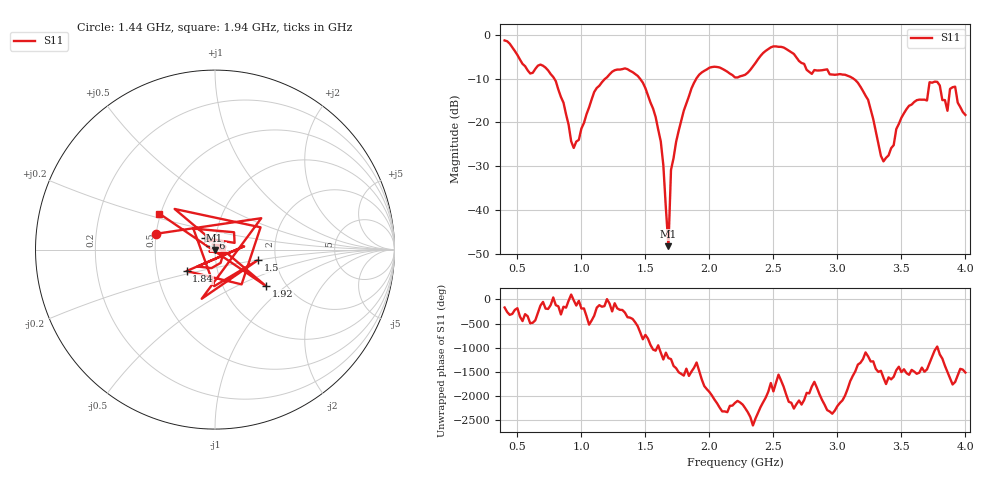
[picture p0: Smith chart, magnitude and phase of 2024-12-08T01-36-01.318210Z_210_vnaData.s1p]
!Created with skrf (http://scikit-rf.org).
# Hz S RI R 50.0
!freq ReS11 ImS11
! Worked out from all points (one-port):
!   181 points, 400 MHz to 4 GHz, reference 50 ohm
!   lowest |S11| = -48.2 dB at 1.68 GHz (marker M1), VSWR 1.01, Z = 49.7 - j0.273 ohm
!   |S11| at or under -10 dB: 787.2 MHz to 1.188 GHz (400.9 MHz wide, 40.6 % of centre); 1.456 GHz to 1.898 GHz (442 MHz wide, 26.4 % of centre); 3.124 GHz to end of sweep
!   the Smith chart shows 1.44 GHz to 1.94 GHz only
!   S11 on the Smith chart (normalised r, x): 1.44 GHz: 0.50, +0.10; 1.5 GHz: 1.61, -0.20; 1.6 GHz: 0.89, +0.11; 1.84 GHz: 0.71, -0.18; 1.92 GHz: 1.59, -0.73; 1.94 GHz: 0.49, +0.23
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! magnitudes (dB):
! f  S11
! 400 MHz  -1.3
! 600 MHz  -8.9
! 720 MHz  -7.5
! 860 MHz  -15.5
! 940 MHz  -25.8
! 1.1 GHz  -13.1
! 1.3 GHz  -8.0
! 1.44 GHz  -9.4
! 1.5 GHz  -12.2
! 1.6 GHz  -21.6
! 1.64 GHz  -29.7
! 1.68 GHz  -48.2
! 1.7 GHz  -30.8
! 1.76 GHz  -21.9
! 1.84 GHz  -14.1
! 1.92 GHz  -9.1
! 1.94 GHz  -8.6
! 2.2 GHz  -9.8
! 2.48 GHz  -2.9
! 2.66 GHz  -4.4
! 3.1 GHz  -9.6
! 3.24 GHz  -14.9
! 3.36 GHz  -28.9
! 3.56 GHz  -16.2
! 3.78 GHz  -10.8
! 3.86 GHz  -17.3
! 3.92 GHz  -11.9
! 4 GHz  -18.3
